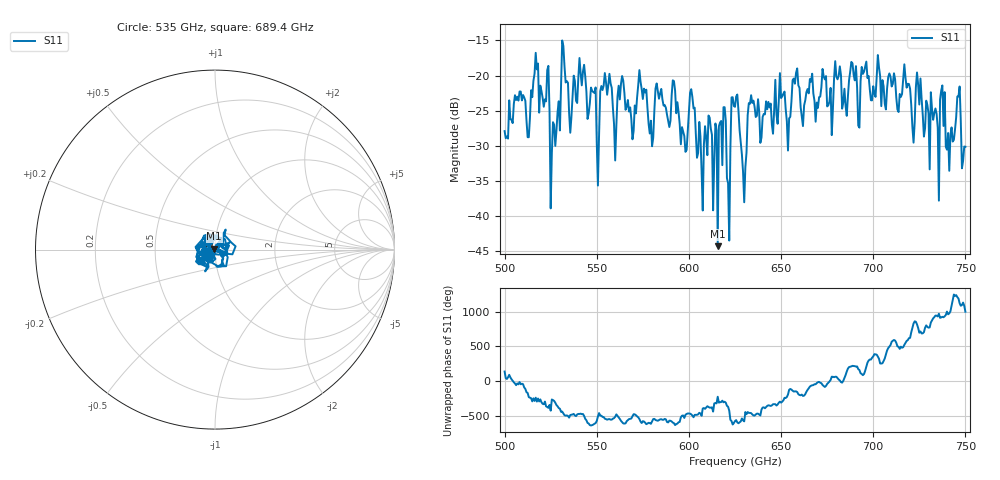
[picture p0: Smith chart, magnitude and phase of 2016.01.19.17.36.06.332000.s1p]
!Created with skrf (http://scikit-rf.org).
# GHz S RI R 50.0
!freq ReS11 ImS11
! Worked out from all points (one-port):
!   401 points, 500 GHz to 750 GHz, reference 50 ohm
!   lowest |S11| = -44.3 dB at 615.6 GHz (marker M1), VSWR 1.01, Z = 49.6 + j0.434 ohm
!   |S11| at or under -10 dB: start of sweep to end of sweep
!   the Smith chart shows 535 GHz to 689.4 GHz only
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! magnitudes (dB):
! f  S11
! 500 GHz  -27.9
! 513.1 GHz  -28.8
! 516.9 GHz  -16.8
! 523.1 GHz  -19.2
! 526.2 GHz  -26.7
! 531.2 GHz  -15.0
! 535.6 GHz  -28.2
! 541.9 GHz  -21.4
! 550 GHz  -29.6
! 553.1 GHz  -22.1
! 560 GHz  -32.1
! 562.5 GHz  -23.4
! 579.4 GHz  -26.4
! 593.8 GHz  -23.8
! 615.6 GHz  -44.3
! 618.8 GHz  -24.5
! 621.2 GHz  -35.4
! 625 GHz  -24.5
! 630 GHz  -38.1
! 633.8 GHz  -22.8
! 656.2 GHz  -20.7
! 687.5 GHz  -19.5
! 718.8 GHz  -21.2
! 734.4 GHz  -25.4
! 737.5 GHz  -21.4
! 740.6 GHz  -28.2
! 746.2 GHz  -23.0
! 750 GHz  -30.2
